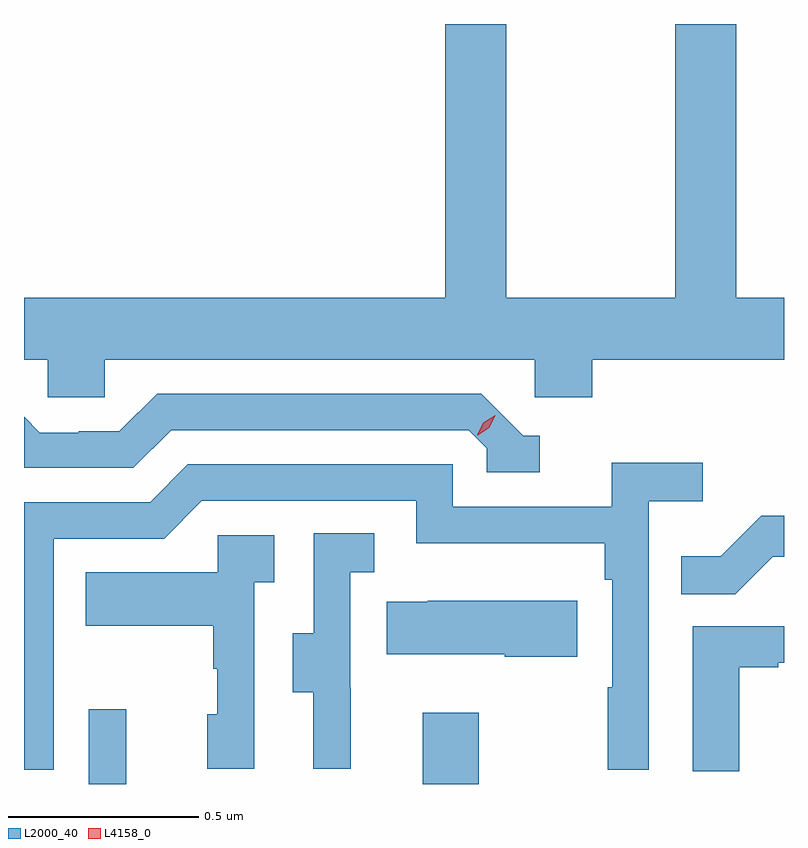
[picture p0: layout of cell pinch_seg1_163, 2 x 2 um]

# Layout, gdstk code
import gdstk
lib = gdstk.Library(unit=1e-6, precision=1e-09)
def R(c, l, rs):  # rectangles x0, y0, x1, y1
    for r in rs: c.add(gdstk.rectangle(r[:2], r[2:], *l))
def P(c, l, *ps):  # polygons
    for p in ps: c.add(gdstk.Polygon(p, *l))
L2000_40 = (2000, 40)
L4158_0 = (4158, 0)

pinch_seg1_163 = lib.new_cell('pinch_seg1_163')
R(pinch_seg1_163, L2000_40, [(1107.051,542.624,1107.149,542.821), (1107.929,542.624,1108.077,542.812)])
P(pinch_seg1_163, L2000_40, [(1107.093,543.74),(1108.224,543.74),(1108.224,543.642),(1108.376,543.642),(1108.376,543.74),(1108.88,543.74),(1108.88,543.904),(1108.754,543.904),(1108.754,544.624),(1108.594,544.624),(1108.594,543.904),(1108.149,543.904),(1108.149,544.624),(1107.989,544.624),(1107.989,543.904),(1106.88,543.904),(1106.88,543.74),(1106.943,543.74),(1106.943,543.642),(1107.093,543.642)],
  [(1108.237,543.54),(1108.194,543.54),(1108.083,543.651),(1107.23,543.651),(1107.131,543.552),(1107.024,543.552),(1107.024,543.549),(1106.921,543.549),(1106.88,543.591),(1106.88,543.456),(1107.168,543.456),(1107.267,543.555),(1108.05,543.555),(1108.098,543.507),(1108.098,543.444),(1108.237,543.444)],
  [(1106.958,543.27),(1107.249,543.27),(1107.348,543.369),(1107.912,543.369),(1107.912,543.257),(1108.408,543.257),(1108.408,543.161),(1108.428,543.161),(1108.428,542.879),(1108.416,542.879),(1108.416,542.661),(1108.524,542.661),(1108.524,543.368),(1108.666,543.368),(1108.666,543.47),(1108.427,543.47),(1108.427,543.354),(1108.008,543.354),(1108.008,543.465),(1107.311,543.465),(1107.212,543.366),(1106.88,543.366),(1106.88,542.661),(1106.958,542.661)],
  [(1108.85,543.222),(1108.88,543.222),(1108.88,543.33),(1108.82,543.33),(1108.713,543.223),(1108.609,543.223),(1108.609,543.124),(1108.752,543.124)],
  [(1107.74,542.877),(1107.738,542.877),(1107.738,543.181),(1107.802,543.181),(1107.802,543.284),(1107.642,543.284),(1107.642,543.021),(1107.587,543.021),(1107.587,542.866),(1107.641,542.866),(1107.641,542.664),(1107.74,542.664)],
  [(1107.486,543.155),(1107.538,543.155),(1107.538,543.279),(1107.39,543.279),(1107.39,543.181),(1107.043,543.181),(1107.043,543.041),(1107.378,543.041),(1107.378,542.927),(1107.388,542.927),(1107.388,542.808),(1107.362,542.808),(1107.362,542.664),(1107.486,542.664)],
  [(1108.336,543.106),(1107.943,543.106),(1107.943,543.103),(1107.835,543.103),(1107.835,542.966),(1108.145,542.966),(1108.145,542.959),(1108.336,542.959)],
  [(1108.762,542.931),(1108.865,542.931),(1108.865,542.943),(1108.88,542.943),(1108.88,543.039),(1108.64,543.039),(1108.64,542.657),(1108.762,542.657)])
P(pinch_seg1_163, L4158_0, [(1108.073,543.542),(1108.073,543.542),(1108.089,543.575),(1108.12,543.594),(1108.12,543.594),(1108.12,543.594),(1108.104,543.561),(1108.074,543.542)])

lib.write_gds('pinch_seg1_163.gds')
